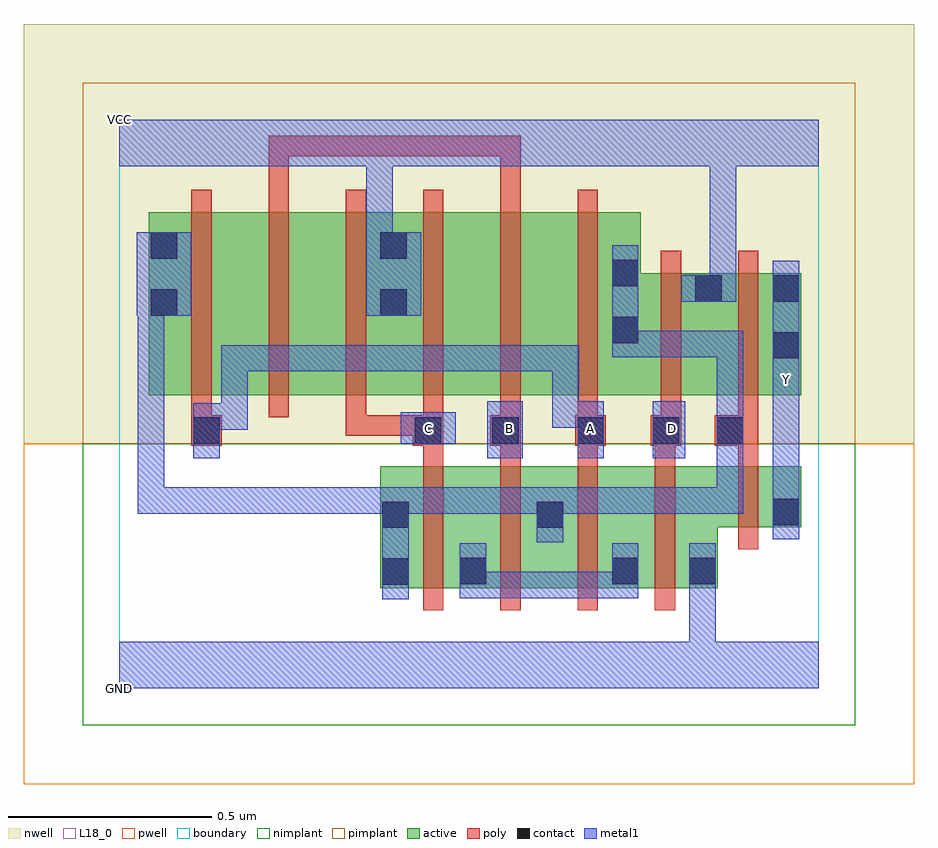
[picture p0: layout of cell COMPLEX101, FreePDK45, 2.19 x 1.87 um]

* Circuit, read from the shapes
.subckt COMPLEX101 A B C D GND VCC Y
M1 n1 C n2 VSUBS nfet w=0.3u l=0.05u
M2 n2 B n1 VSUBS nfet w=0.3u l=0.05u
M3 n1 A n2 VSUBS nfet w=0.3u l=0.05u
M4 GND D n1 VSUBS nfet w=0.3u l=0.05u
M5 Y n2 GND VSUBS nfet w=0.15u l=0.05u
M6 n3 A n2 n4 pfet w=0.45u l=0.05u
M7 n5 B n3 n4 pfet w=0.45u l=0.05u
M8 VCC C n5 n4 pfet w=0.45u l=0.05u
M9 n6 C VCC n4 pfet w=0.45u l=0.05u
M10 n7 B n6 n4 pfet w=0.45u l=0.05u
M11 n2 A n7 n4 pfet w=0.45u l=0.05u
M12 VCC D n2 n4 pfet w=0.3u l=0.05u
M13 Y n2 VCC n4 pfet w=0.3u l=0.05u
.ends

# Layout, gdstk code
import gdstk
lib = gdstk.Library(unit=1e-6, precision=1e-09)
def R(c, l, rs):  # rectangles x0, y0, x1, y1
    for r in rs: c.add(gdstk.rectangle(r[:2], r[2:], *l))
def A(c, l, x, y, w, h, nx, ny, dx, dy):  # array of equal rectangles
    R(c, l, [(x+i*dx, y+j*dy, x+i*dx+w, y+j*dy+h) for i in range(nx) for j in range(ny)])
active = (1, 0)
pwell = (2, 0)
nwell = (3, 0)
nimplant = (4, 0)
pimplant = (5, 0)
poly = (9, 0)
contact = (10, 0)
metal1 = (11, 0)
L18_0 = (18, 0)
boundary = (235, 0)

complex101 = lib.new_cell('COMPLEX101')
R(complex101, active, [(0.642,0.247,0.907,0.547), (0.642,0.247,0.717,0.547), (0.832,0.247,1.097,0.547), (0.832,0.247,0.907,0.422), (1.022,0.247,1.282,0.547), (1.022,0.247,1.097,0.465), (1.207,0.247,1.472,0.547), (1.207,0.247,1.282,0.392), (1.397,0.247,1.472,0.397), (1.397,0.397,1.677,0.547), (1.602,0.397,1.677,0.547), (0.072,0.722,0.297,1.172), (0.072,0.722,0.147,1.127), (0.297,0.722,0.487,1.172), (0.487,0.722,0.712,1.172), (0.637,0.722,0.867,1.172), (0.867,0.722,1.057,1.172), (1.057,0.722,1.282,1.172), (1.207,0.722,1.487,1.022), (1.207,0.722,1.282,1.06), (1.412,0.722,1.677,1.022), (1.602,0.722,1.677,1.022), (0.637,0.732,0.712,1.127), (1.412,0.742,1.487,1.022)])
R(complex101, pwell, [(-0.235,-0.235,1.955,0.602)])
R(complex101, nwell, [(-0.235,0.602,1.955,1.635)])
R(complex101, nimplant, [(-0.09,-0.09,1.81,0.602)])
R(complex101, pimplant, [(-0.09,0.602,1.81,1.49)])
A(complex101, poly, 0.747, 0.192, 0.05, 0.41, 4, 1, 0.19, 0)
A(complex101, poly, 0.747, 0.552, 0.05, 0.095, 4, 1, 0.19, 0)
A(complex101, poly, 0.557, 0.622, 0.05, 0.095, 4, 1, 0.19, 0)
A(complex101, poly, 0.177, 0.667, 0.05, 0.56, 6, 1, 0.19, 0)
R(complex101, poly, [(1.522,0.342,1.572,0.602), (1.522,0.552,1.572,0.647), (0.177,0.597,0.252,0.672), (0.722,0.597,0.797,0.672), (0.912,0.597,0.987,0.672), (1.122,0.597,1.197,0.672), (1.307,0.597,1.382,0.672), (1.465,0.597,1.572,0.672), (0.177,0.622,0.227,0.717), (0.557,0.622,0.607,0.672), (0.557,0.622,0.607,0.672), (0.557,0.622,0.607,0.672), (0.557,0.622,0.772,0.672), (1.332,0.622,1.382,0.717), (1.522,0.622,1.572,0.717), (1.332,0.667,1.382,1.077), (1.522,0.667,1.572,1.077), (0.367,1.177,0.417,1.36), (0.937,1.177,0.987,1.36), (0.367,1.31,0.417,1.36), (0.367,1.31,0.417,1.36), (0.367,1.31,0.417,1.36), (0.367,1.31,0.55,1.36), (0.5,1.31,0.55,1.36), (0.5,1.31,0.55,1.36), (0.5,1.31,0.55,1.36), (0.5,1.31,0.83,1.36), (0.78,1.31,0.987,1.36), (0.78,1.31,0.83,1.36), (0.78,1.31,0.83,1.36), (0.78,1.31,0.83,1.36), (0.937,1.31,0.987,1.36)])
R(complex101, contact, [(0.647,0.255,0.712,0.32), (0.837,0.257,0.902,0.322), (1.212,0.257,1.277,0.322), (1.402,0.257,1.467,0.322), (0.647,0.395,0.712,0.46), (1.027,0.395,1.092,0.46), (1.607,0.402,1.672,0.467), (0.182,0.602,0.247,0.667), (0.727,0.602,0.792,0.667), (0.917,0.602,0.982,0.667), (1.127,0.602,1.192,0.667), (1.312,0.602,1.377,0.667), (1.47,0.602,1.535,0.667), (1.607,0.812,1.672,0.877), (1.212,0.85,1.277,0.915), (0.077,0.917,0.142,0.982), (0.642,0.917,0.707,0.982), (1.417,0.952,1.482,1.017), (1.607,0.952,1.672,1.017), (1.212,0.99,1.277,1.055), (0.077,1.057,0.142,1.122), (0.642,1.057,0.707,1.122)])
R(complex101, metal1, [(0,0,1.72,0.115), (1.402,0.05,1.467,0.287), (0.647,0.22,0.712,0.495), (0.837,0.222,0.902,0.357), (0.837,0.222,0.902,0.287), (0.837,0.222,0.902,0.287), (0.837,0.222,1.13,0.287), (1.065,0.222,1.13,0.287), (1.065,0.222,1.13,0.287), (1.065,0.222,1.13,0.287), (1.065,0.222,1.277,0.287), (1.212,0.222,1.277,0.357), (1.402,0.222,1.467,0.357), (1.402,0.222,1.467,0.287), (1.402,0.222,1.467,0.287), (1.027,0.36,1.092,0.495), (1.607,0.367,1.672,0.502), (0.045,0.43,0.11,0.495), (0.045,0.43,0.11,0.495), (0.045,0.43,0.11,0.495), (0.045,0.43,0.247,0.495), (0.045,0.43,0.11,0.982), (0.182,0.43,0.247,0.495), (0.182,0.43,0.247,0.495), (0.182,0.43,0.247,0.495), (0.182,0.43,0.452,0.495), (0.387,0.43,0.452,0.495), (0.387,0.43,0.452,0.495), (0.387,0.43,0.452,0.495), (0.387,0.43,0.59,0.495), (0.525,0.43,0.59,0.495), (0.525,0.43,0.712,0.495), (0.647,0.43,0.727,0.495), (0.662,0.43,0.727,0.495), (0.662,0.43,0.955,0.495), (0.89,0.43,0.955,0.495), (0.89,0.43,0.955,0.495), (0.89,0.43,0.955,0.495), (0.89,0.43,1.092,0.495), (1.027,0.43,1.13,0.495), (1.065,0.43,1.13,0.495), (1.065,0.43,1.267,0.495), (1.202,0.43,1.267,0.495), (1.202,0.43,1.267,0.495), (1.202,0.43,1.267,0.495), (1.202,0.43,1.535,0.495), (1.47,0.43,1.535,0.495), (1.47,0.43,1.535,0.702), (1.607,0.437,1.672,0.757), (0.182,0.567,0.247,0.702), (0.905,0.567,0.992,0.707), (1.127,0.567,1.192,0.707), (1.312,0.567,1.392,0.707), (1.47,0.567,1.535,0.702), (0.692,0.602,0.827,0.68), (0.182,0.637,0.315,0.702), (0.25,0.637,0.315,0.702), (0.25,0.637,0.315,0.845), (1.47,0.637,1.535,0.702), (1.47,0.637,1.535,0.702), (1.47,0.637,1.535,0.88), (1.065,0.642,1.13,0.707), (1.065,0.642,1.192,0.707), (1.065,0.642,1.13,0.845), (1.607,0.692,1.672,0.827), (1.607,0.762,1.672,0.842), (1.607,0.777,1.672,1.052), (0.25,0.78,0.315,0.845), (0.25,0.78,0.452,0.845), (0.387,0.78,0.452,0.845), (0.387,0.78,0.452,0.845), (0.387,0.78,0.452,0.845), (0.387,0.78,0.59,0.845), (0.525,0.78,0.59,0.845), (0.525,0.78,0.59,0.845), (0.525,0.78,0.59,0.845), (0.525,0.78,0.727,0.845), (0.662,0.78,0.727,0.845), (0.662,0.78,0.865,0.845), (0.8,0.78,0.865,0.845), (0.8,0.78,0.865,0.845), (0.8,0.78,0.865,0.845), (0.8,0.78,1.13,0.845), (1.065,0.78,1.13,0.845), (1.212,0.815,1.277,1.09), (1.212,0.815,1.277,0.88), (1.212,0.815,1.277,0.88), (1.212,0.815,1.535,0.88), (1.47,0.815,1.535,0.88), (0.042,0.917,0.177,1.122), (0.607,0.917,0.742,1.122), (1.382,0.952,1.517,1.017), (1.452,0.952,1.517,1.35), (0.607,1.057,0.672,1.122), (0.607,1.057,0.672,1.122), (0.607,1.057,0.672,1.35), (0,1.285,1.72,1.4), (1.452,1.285,1.517,1.35), (1.452,1.285,1.517,1.35), (1.452,1.285,1.517,1.35), (1.452,1.285,1.517,1.35)])
A(complex101, L18_0, 0.727, 0.607, 0.065, 0.065, 4, 1, 0.2, 0)
R(complex101, L18_0, [(0,0,1.72,0.115), (1.402,0.05,1.467,0.287), (1.402,0.222,1.467,0.357), (1.402,0.222,1.467,0.287), (1.402,0.222,1.467,0.287), (1.607,0.367,1.672,0.502), (1.607,0.437,1.672,0.757), (0.182,0.567,0.247,0.702), (0.905,0.567,0.992,0.707), (1.127,0.567,1.192,0.707), (1.312,0.567,1.392,0.707), (0.692,0.602,0.827,0.68), (0.182,0.637,0.315,0.702), (0.25,0.637,0.315,0.702), (0.25,0.637,0.315,0.845), (1.065,0.642,1.13,0.707), (1.065,0.642,1.13,0.845), (1.065,0.642,1.192,0.707), (1.607,0.692,1.672,0.827), (1.607,0.727,1.672,0.792), (1.607,0.762,1.672,0.842), (1.607,0.777,1.672,1.052), (0.25,0.78,0.315,0.845), (0.25,0.78,0.452,0.845), (0.387,0.78,0.452,0.845), (0.387,0.78,0.452,0.845), (0.387,0.78,0.452,0.845), (0.387,0.78,0.59,0.845), (0.525,0.78,0.59,0.845), (0.525,0.78,0.59,0.845), (0.525,0.78,0.59,0.845), (0.525,0.78,0.727,0.845), (0.662,0.78,0.727,0.845), (0.662,0.78,0.865,0.845), (0.8,0.78,0.865,0.845), (0.8,0.78,0.865,0.845), (0.8,0.78,0.865,0.845), (0.8,0.78,1.13,0.845), (1.065,0.78,1.13,0.845), (0.607,0.917,0.742,1.122), (1.382,0.952,1.517,1.017), (1.452,0.952,1.517,1.35), (0.607,1.057,0.672,1.122), (0.607,1.057,0.672,1.122), (0.607,1.057,0.672,1.35), (0,1.285,1.72,1.4), (1.452,1.285,1.517,1.35), (1.452,1.285,1.517,1.35), (1.452,1.285,1.517,1.35), (1.452,1.285,1.517,1.35)])
R(complex101, boundary, [(0,0,1.72,1.4)])
complex101.add(gdstk.Label('A', (1.16,0.64), layer=11, texttype=0))
complex101.add(gdstk.Label('B', (0.96,0.64), layer=11, texttype=0))
complex101.add(gdstk.Label('C', (0.76,0.64), layer=11, texttype=0))
complex101.add(gdstk.Label('D', (1.36,0.64), layer=11, texttype=0))
complex101.add(gdstk.Label('Y', (1.64,0.76), layer=11, texttype=0))
complex101.add(gdstk.Label('VCC', (0,1.4), layer=11, texttype=0))
complex101.add(gdstk.Label('GND', (0,0), layer=11, texttype=0))

lib.write_gds('COMPLEX101.gds')
